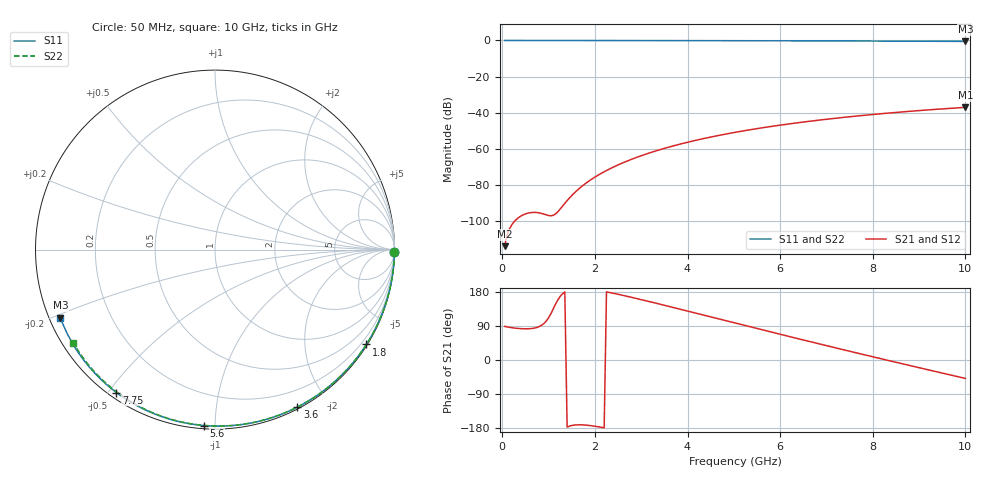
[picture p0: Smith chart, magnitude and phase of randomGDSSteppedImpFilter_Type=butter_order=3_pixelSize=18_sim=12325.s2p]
! freq	dB(S11)	phase(S11)	dB(S12)	phase(S12)
!  dB(S21)	phase(S21)	dB(S22)	phase(S22)
!S-par simulation data
#  GHz  S  DB  R 50
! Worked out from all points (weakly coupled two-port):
!   200 points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, 50 MHz to 10 GHz, reference 50 ohm
!   highest |S21| = -37.06 dB at 10 GHz (marker M1); lowest = -114.0 dB at 50 MHz (marker M2)
!   lowest |S11| = -0.5 dB at 10 GHz (marker M3), VSWR 33.15, Z = 1.58 - j10.5 ohm
!   |S11| at or under -10 dB: nowhere
!   |S22| runs from -0.5 to 0.0 dB; largest |S21 - S12| = 0
!   S11 on the Smith chart (normalised r, x): 50 MHz: open; 1.8 GHz: 0.03, -3.48; 3.6 GHz: 0.02, -1.65; 5.6 GHz: 0.02, -0.94; 7.75 GHz: 0.02, -0.53; 10 GHz: 0.03, -0.21
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0.05  -0.00 -0.9  -113.96 88.7  -113.96 88.7  -0.00 -0.9
0.45  -0.01 -8.1  -96.61 82.4  -96.61 82.4  -0.01 -7.7
0.9  -0.02 -16.2  -96.21 96.4  -96.21 96.4  -0.02 -15.3
1.3  -0.03 -23.3  -91.79 174.6  -91.79 174.6  -0.03 -21.9
1.75  -0.04 -31.2  -80.15 -171.3  -80.15 -171.3  -0.04 -29.4
1.8  -0.04 -32.1  -79.17 -171.8  -79.17 -171.8  -0.04 -30.2
1.95  -0.04 -34.7  -76.51 -173.9  -76.51 -173.9  -0.04 -32.6
2.1  -0.05 -37.3  -74.15 -176.8  -74.15 -176.8  -0.04 -35.1
2.3  -0.05 -40.7  -71.38 178.6  -71.38 178.6  -0.05 -38.3
2.5  -0.06 -44.1  -68.94 173.4  -68.94 173.4  -0.05 -41.6
2.9  -0.07 -50.9  -64.77 162.2  -64.77 162.2  -0.06 -47.9
3.4  -0.08 -59.2  -60.53 147.4  -60.53 147.4  -0.07 -55.8
3.6  -0.08 -62.4  -59.05 141.4  -59.05 141.4  -0.08 -58.9
4.3  -0.10 -73.6  -54.61 119.9  -54.61 119.9  -0.10 -69.5
5.05  -0.13 -85.3  -50.79 96.9  -50.79 96.9  -0.12 -80.5
5.6  -0.16 -93.6  -48.43 80.1  -48.43 80.1  -0.15 -88.3
6.15  -0.18 -101.7  -46.37 63.4  -46.37 63.4  -0.17 -96.0
6.7  -0.21 -109.7  -44.55 46.8  -44.55 46.8  -0.20 -103.5
7.75  -0.29 -124.6  -41.62 15.8  -41.62 15.8  -0.27 -117.5
8.35  -0.34 -133.0  -40.20 -1.7  -40.20 -1.7  -0.32 -125.3
9.2  -0.43 -144.9  -38.45 -26.0  -38.45 -26.0  -0.40 -136.3
10  -0.52 -156.2  -37.06 -48.6  -37.06 -48.6  -0.49 -146.6
